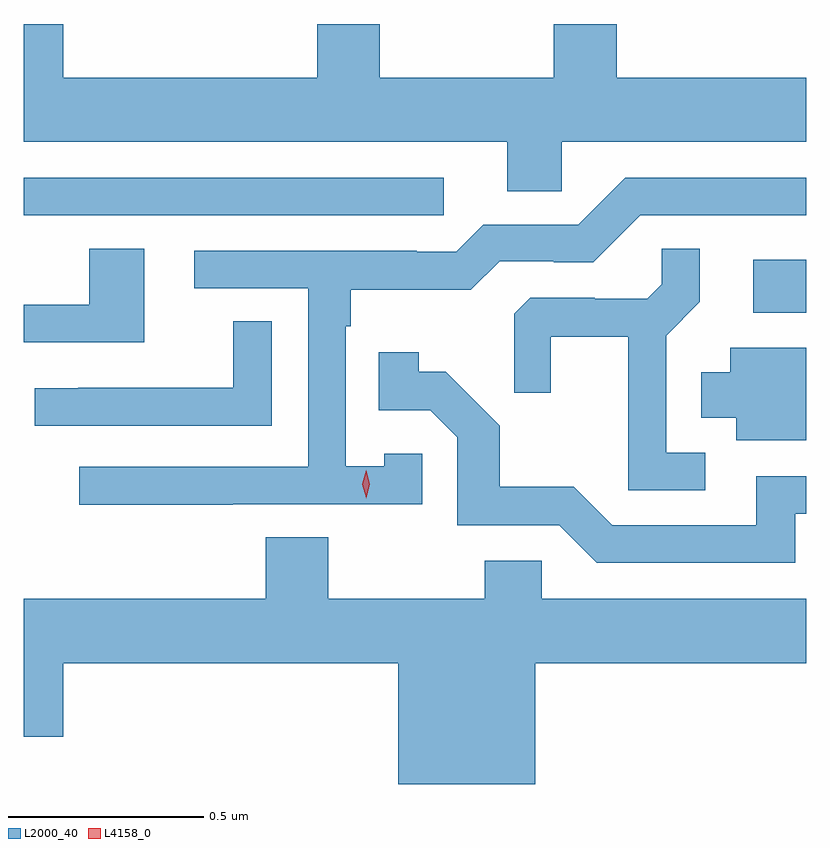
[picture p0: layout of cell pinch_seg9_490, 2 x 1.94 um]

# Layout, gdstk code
import gdstk
lib = gdstk.Library(unit=1e-6, precision=1e-09)
def R(c, l, rs):  # rectangles x0, y0, x1, y1
    for r in rs: c.add(gdstk.rectangle(r[:2], r[2:], *l))
def P(c, l, *ps):  # polygons
    for p in ps: c.add(gdstk.Polygon(p, *l))
L2000_40 = (2000, 40)
L4158_0 = (4158, 0)

pinch_seg9_490 = lib.new_cell('pinch_seg9_490')
R(pinch_seg9_490, L2000_40, [(382.719,1185.327,382.855,1185.463), (380.855,1185.576,381.928,1185.672)])
P(pinch_seg9_490, L2000_40, [(382.23,1185.764),(382.855,1185.764),(382.855,1185.928),(382.37,1185.928),(382.37,1186.065),(382.21,1186.065),(382.21,1185.928),(381.765,1185.928),(381.765,1186.065),(381.605,1186.065),(381.605,1185.928),(380.956,1185.928),(380.956,1186.065),(380.855,1186.065),(380.855,1185.764),(382.091,1185.764),(382.091,1185.637),(382.23,1185.637)],
  [(381.389,1184.838),(381.873,1184.838),(381.873,1184.967),(381.777,1184.967),(381.777,1184.935),(381.678,1184.935),(381.678,1185.293),(381.691,1185.293),(381.691,1185.386),(381.998,1185.386),(382.071,1185.459),(382.21,1185.459),(382.21,1185.456),(382.311,1185.456),(382.431,1185.576),(382.855,1185.576),(382.855,1185.672),(382.392,1185.672),(382.272,1185.552),(382.029,1185.552),(381.96,1185.483),(381.86,1185.483),(381.86,1185.486),(381.291,1185.486),(381.291,1185.39),(381.582,1185.39),(381.582,1184.934),(380.997,1184.934),(380.997,1184.836),(381.389,1184.836)],
  [(382.597,1184.97),(382.497,1184.97),(382.497,1185.269),(382.583,1185.355),(382.583,1185.491),(382.485,1185.491),(382.485,1185.4),(382.448,1185.363),(382.314,1185.363),(382.314,1185.366),(382.149,1185.366),(382.108,1185.325),(382.108,1185.123),(382.202,1185.123),(382.202,1185.266),(382.4,1185.266),(382.4,1184.874),(382.597,1184.874)],
  [(381.163,1185.491),(381.023,1185.491),(381.023,1185.348),(380.855,1185.348),(380.855,1185.252),(381.163,1185.252)],
  [(381.489,1185.305),(381.391,1185.305),(381.391,1185.135),(380.995,1185.135),(380.995,1185.134),(380.883,1185.134),(380.883,1185.039),(381.489,1185.039)],
  [(382.855,1185.238),(382.661,1185.238),(382.661,1185.175),(382.586,1185.175),(382.586,1185.059),(382.676,1185.059),(382.676,1185.002),(382.855,1185.002)],
  [(382.826,1184.814),(382.855,1184.814),(382.855,1184.91),(382.727,1184.91),(382.727,1184.784),(382.359,1184.784),(382.261,1184.883),(382.072,1184.883),(382.072,1185.038),(381.934,1185.176),(381.864,1185.176),(381.864,1185.226),(381.763,1185.226),(381.763,1185.078),(381.894,1185.078),(381.963,1185.009),(381.963,1184.784),(382.224,1184.784),(382.32,1184.688),(382.826,1184.688)],
  [(382.162,1184.432),(382.855,1184.432),(382.855,1184.596),(382.179,1184.596),(382.179,1184.694),(382.033,1184.694),(382.033,1184.596),(381.633,1184.596),(381.633,1184.753),(381.473,1184.753),(381.473,1184.596),(380.855,1184.596),(380.855,1184.244),(380.956,1184.244),(380.956,1184.432),(381.812,1184.432),(381.812,1184.123),(382.162,1184.123)])
P(pinch_seg9_490, L4158_0, [(381.73,1184.853),(381.73,1184.854),(381.72,1184.889),(381.73,1184.925),(381.73,1184.925),(381.73,1184.925),(381.74,1184.889),(381.73,1184.854)])

lib.write_gds('pinch_seg9_490.gds')
